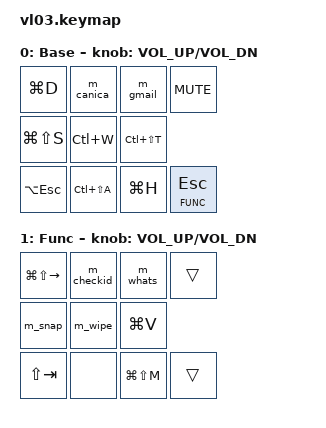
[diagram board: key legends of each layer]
#include <behaviors.dtsi>
#include <dt-bindings/zmk/keys.h>

#define BASE 0
#define FUNC 1

// ----------------------------------------------------------------------
//  DISTRIBUCION ESPANOLA EN WINDOWS
//  ZMK manda posiciones de teclado US. Windows las traduce a ES.
//  Equivalencias que usamos abajo:
//      :   ->  LS(DOT)     (Shift + punto)
//      /   ->  LS(N7)      (Shift + 7)
//      -   ->  SLASH       (la tecla US de diagonal da guion en ES)
//  Si algun dia cambias Windows a ingles, hay que revertir esto.
// ----------------------------------------------------------------------
#define ES_COLON LS(DOT)
#define ES_SLASH LS(N7)
#define ES_MINUS SLASH

/ {
    behaviors {
        // Tecla roja: toque = Esc (Stop), mantener = capa FUNC.
        lt_stop: lt_stop {
            compatible = "zmk,behavior-hold-tap";
            #binding-cells = <2>;
            tapping-term-ms = <180>;
            flavor = "hold-preferred";
            bindings = <&mo>, <&kp>;
        };
    };

    macros {

        // Gmail
        // Externa: abre Ejecutar y espera 900 ms a que tome el foco.
        m_gmail: m_gmail {
            compatible = "zmk,behavior-macro";
            #binding-cells = <0>;
            wait-ms = <900>;
            tap-ms = <25>;
            bindings = <&kp LG(R)>, <&m_gmail_t>;
        };

        // Interna: teclea rapido y da Enter.
        m_gmail_t: m_gmail_t {
            compatible = "zmk,behavior-macro";
            #binding-cells = <0>;
            wait-ms = <25>;
            tap-ms = <25>;
            bindings = <&kp H &kp T &kp T &kp P &kp S &kp ES_COLON &kp ES_SLASH &kp ES_SLASH &kp M &kp A &kp I &kp L &kp DOT &kp G &kp O &kp O &kp G &kp L &kp E &kp DOT &kp C &kp O &kp M &kp ENTER>;
        };

        // WhatsApp de escritorio
        // Externa: abre Ejecutar y espera 900 ms a que tome el foco.
        m_whats: m_whats {
            compatible = "zmk,behavior-macro";
            #binding-cells = <0>;
            wait-ms = <900>;
            tap-ms = <25>;
            bindings = <&kp LG(R)>, <&m_whats_t>;
        };

        // Interna: teclea rapido y da Enter.
        m_whats_t: m_whats_t {
            compatible = "zmk,behavior-macro";
            #binding-cells = <0>;
            wait-ms = <25>;
            tap-ms = <25>;
            bindings = <&kp W &kp H &kp A &kp T &kp S &kp A &kp P &kp P &kp ES_COLON &kp ES_SLASH &kp ES_SLASH &kp ENTER>;
        };

        // CanicaSync - panel de solicitudes
        // Externa: abre Ejecutar y espera 900 ms a que tome el foco.
        m_canica: m_canica {
            compatible = "zmk,behavior-macro";
            #binding-cells = <0>;
            wait-ms = <900>;
            tap-ms = <25>;
            bindings = <&kp LG(R)>, <&m_canica_t>;
        };

        // Interna: teclea rapido y da Enter.
        m_canica_t: m_canica_t {
            compatible = "zmk,behavior-macro";
            #binding-cells = <0>;
            wait-ms = <25>;
            tap-ms = <25>;
            bindings = <&kp H &kp T &kp T &kp P &kp S &kp ES_COLON &kp ES_SLASH &kp ES_SLASH &kp C &kp A &kp N &kp I &kp C &kp A &kp S &kp Y &kp N &kp C &kp DOT &kp C &kp O &kp M &kp ES_SLASH &kp LS(A) &kp P &kp P &kp ES_SLASH &kp LS(S) &kp O &kp L &kp I &kp C &kp I &kp T &kp U &kp D &kp ENTER>;
        };

        // CheckID - panel de tenants
        // Externa: abre Ejecutar y espera 900 ms a que tome el foco.
        m_checkid: m_checkid {
            compatible = "zmk,behavior-macro";
            #binding-cells = <0>;
            wait-ms = <900>;
            tap-ms = <25>;
            bindings = <&kp LG(R)>, <&m_checkid_t>;
        };

        // Interna: teclea rapido y da Enter.
        m_checkid_t: m_checkid_t {
            compatible = "zmk,behavior-macro";
            #binding-cells = <0>;
            wait-ms = <25>;
            tap-ms = <25>;
            bindings = <&kp H &kp T &kp T &kp P &kp S &kp ES_COLON &kp ES_SLASH &kp ES_SLASH &kp W &kp W &kp W &kp DOT &kp C &kp H &kp E &kp C &kp K &kp I &kp D &kp DOT &kp M &kp X &kp ES_SLASH &kp LS(A) &kp P &kp P &kp ES_SLASH &kp LS(T) &kp E &kp N &kp A &kp N &kp T &kp S &kp ENTER>;
        };

        // Recorte, 4 s para seleccionar, y pega con Alt+V
        m_snap: m_snap {
            compatible = "zmk,behavior-macro";
            #binding-cells = <0>;
            wait-ms = <4000>;
            tap-ms = <40>;
            bindings = <&kp LG(LS(S))>, <&kp LA(V)>;
        };

        // Vacia el campo de Claude Code.
        // Ctrl+A va al inicio de linea (convencion readline), Ctrl+K
        // borra del cursor al final.
        m_wipe: m_wipe {
            compatible = "zmk,behavior-macro";
            #binding-cells = <0>;
            wait-ms = <40>;
            tap-ms = <40>;
            bindings = <&kp LC(A) &kp LC(K)>;
        };
    };

    combos {
        compatible = "zmk,combos";

        // ZMK Studio: posiciones 0 y 2 a la vez (las esquinas de arriba)
        combo_studio {
            timeout-ms = <60>;
            key-positions = <0 2>;
            bindings = <&studio_unlock>;
            layers = <BASE>;
        };
    };

    keymap {
        compatible = "zmk,keymap";

        // ------------------------------------------------------------------
        //  Capa BASE - toque directo
        //
        //   Escritorio  CanicaSync  Gmail       (encoder)
        //   Recorte     Cerrar      Reabrir
        //   Ventanas    Mute        Dictado      ROJO
        // ------------------------------------------------------------------
        base_layer {
            display-name = "Base";
            bindings = <
                &kp LG(D)       &m_canica      &m_gmail       &kp C_MUTE
                &kp LG(LS(S))   &kp LC(W)      &kp LC(LS(T))
                &kp LA(ESC)     &kp LC(LS(A))  &kp LG(H)      &lt_stop FUNC ESC
            >;
            sensor-bindings = <&inc_dec_kp C_VOL_UP C_VOL_DN>;
        };

        // ------------------------------------------------------------------
        //  Capa FUNC - manteniendo la tecla roja
        //
        //   Otro monitor  CheckID   WhatsApp    (encoder)
        //   Snap+pega    Vaciar    Portapapeles
        //   Modo         libre     Restaurar    (tecla de capa)
        // ------------------------------------------------------------------
        func_layer {
            display-name = "Func";
            bindings = <
                &kp LG(LS(RIGHT_ARROW))  &m_checkid  &m_whats     &trans
                &m_snap            &m_wipe     &kp LG(V)
                &kp LS(TAB)        &none       &kp LG(LS(M))  &trans
            >;
            sensor-bindings = <&inc_dec_kp C_VOL_UP C_VOL_DN>;
        };
    };
};
